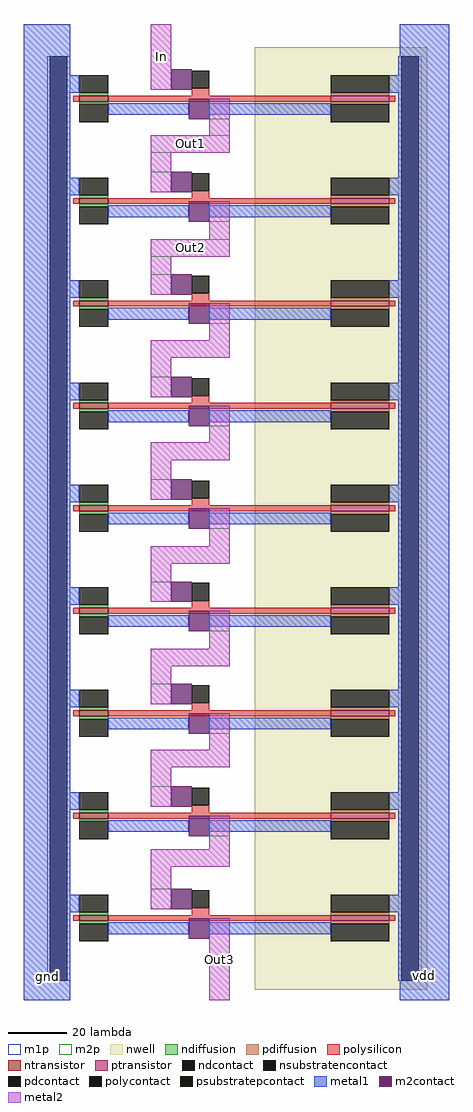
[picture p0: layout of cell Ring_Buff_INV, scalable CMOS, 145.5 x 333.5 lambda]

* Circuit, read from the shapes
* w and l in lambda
.subckt Ring_Buff_INV vdd gnd In Out1 Out2 Out3
M1 gnd INVX1_0/A Out3 gnd nfet w=10 l=2
M2 gnd INVX1_1/A INVX1_0/A gnd nfet w=10 l=2
M3 gnd INVX1_2/A INVX1_1/A gnd nfet w=10 l=2
M4 gnd INVX1_3/A INVX1_2/A gnd nfet w=10 l=2
M5 gnd INVX1_4/A INVX1_3/A gnd nfet w=10 l=2
M6 gnd INVX1_5/A INVX1_4/A gnd nfet w=10 l=2
M7 gnd Out2 INVX1_5/A gnd nfet w=10 l=2
M8 gnd Out1 Out2 gnd nfet w=10 l=2
M9 gnd In Out1 gnd nfet w=10 l=2
M10 vdd INVX1_0/A Out3 vdd pfet w=20 l=2
M11 vdd INVX1_1/A INVX1_0/A vdd pfet w=20 l=2
M12 vdd INVX1_2/A INVX1_1/A vdd pfet w=20 l=2
M13 vdd INVX1_3/A INVX1_2/A vdd pfet w=20 l=2
M14 vdd INVX1_4/A INVX1_3/A vdd pfet w=20 l=2
M15 vdd INVX1_5/A INVX1_4/A vdd pfet w=20 l=2
M16 vdd Out2 INVX1_5/A vdd pfet w=20 l=2
M17 vdd Out1 Out2 vdd pfet w=20 l=2
M18 vdd In Out1 vdd pfet w=20 l=2
.ends

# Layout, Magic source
magic
tech scmos
magscale 1 2
<< metal1 >>
rect 0 0 32 667
rect 257 0 291 667
<< metal2 >>
rect 87 622 101 667
rect 127 591 141 616
rect 87 579 141 591
rect 87 552 101 579
rect 127 520 141 546
rect 87 508 141 520
rect 87 482 101 508
rect 127 451 141 476
rect 87 439 141 451
rect 87 413 101 439
rect 127 381 141 406
rect 87 369 141 381
rect 87 342 101 369
rect 127 310 141 336
rect 87 298 141 310
rect 87 272 101 298
rect 127 240 141 266
rect 87 228 141 240
rect 87 202 101 228
rect 127 171 141 196
rect 87 159 141 171
rect 87 132 101 159
rect 127 103 141 126
rect 87 91 141 103
rect 87 62 101 91
rect 127 0 141 56
<< m2p >>
rect 87 622 101 667
rect 87 579 141 591
rect 87 508 141 520
rect 127 0 141 56
use INVX1  INVX1_0 ~/ETRI050_DesignKit/digital_ETRI
transform 0 1 24 -1 0 79
box -12 -8 72 252
use INVX1  INVX1_1
transform 0 1 24 -1 0 149
box -12 -8 72 252
use INVX1  INVX1_2
transform 0 1 24 -1 0 219
box -12 -8 72 252
use INVX1  INVX1_3
transform 0 1 24 -1 0 289
box -12 -8 72 252
use INVX1  INVX1_4
transform 0 1 24 -1 0 359
box -12 -8 72 252
use INVX1  INVX1_5
transform 0 1 24 -1 0 429
box -12 -8 72 252
use INVX1  INVX1_6
transform 0 1 24 -1 0 499
box -12 -8 72 252
use INVX1  INVX1_7
transform 0 1 24 -1 0 569
box -12 -8 72 252
use INVX1  INVX1_8
transform 0 1 24 -1 0 639
box -12 -8 72 252
<< labels >>
rlabel metal1 0 0 32 32 0 gnd
port 2 nsew ground bidirectional abutment
rlabel metal2 87 622 101 667 0 In
port 3 nsew signal input
rlabel metal2 87 579 141 591 0 Out1
port 4 nsew signal output
rlabel metal2 87 508 141 520 0 Out2
port 5 nsew signal output
rlabel metal2 127 0 141 56 0 Out3
port 6 nsew signal output
rlabel metal1 257 0 291 34 0 vdd
port 1 nsew power bidirectional abutment
<< end >>

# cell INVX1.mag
magic
tech scmos
magscale 1 2
<< nwell >>
rect -12 134 72 252
<< ntransistor >>
rect 21 14 25 34
<< ptransistor >>
rect 21 186 25 226
<< ndiffusion >>
rect 19 14 21 34
rect 25 14 27 34
<< pdiffusion >>
rect 19 186 21 226
rect 25 186 27 226
<< ndcontact >>
rect 7 14 19 34
rect 27 14 39 34
<< pdcontact >>
rect 7 186 19 226
rect 27 186 39 226
<< psubstratepcontact >>
rect -6 -6 66 6
<< nsubstratencontact >>
rect -6 234 66 246
<< polysilicon >>
rect 21 226 25 230
rect 21 103 25 186
rect 16 91 25 103
rect 21 34 25 91
rect 21 10 25 14
<< polycontact >>
rect 4 91 16 103
<< metal1 >>
rect -6 246 66 248
rect -6 232 66 234
rect 7 226 19 232
rect 26 103 34 186
rect 26 34 34 89
rect 7 8 19 14
rect -6 6 66 8
rect -6 -8 66 -6
<< m2contact >>
rect 3 77 17 91
rect 23 89 37 103
<< metal2 >>
rect 23 103 37 117
rect 3 63 17 77
<< m1p >>
rect -6 232 66 248
rect -6 -8 66 8
<< m2p >>
rect 23 103 37 117
rect 3 63 17 77
<< labels >>
rlabel metal1 -6 -8 66 8 0 gnd
port 3 nsew ground bidirectional abutment
rlabel metal1 -6 232 66 248 0 vdd
port 2 nsew power bidirectional abutment
rlabel metal2 3 63 17 77 0 A
port 0 nsew signal input
rlabel metal2 23 103 37 117 0 Y
port 1 nsew signal output
<< properties >>
string FIXED_BBOX 0 0 60 240
string LEFclass CORE
string LEFsite core
string LEFsymmetry X Y
<< end >>
